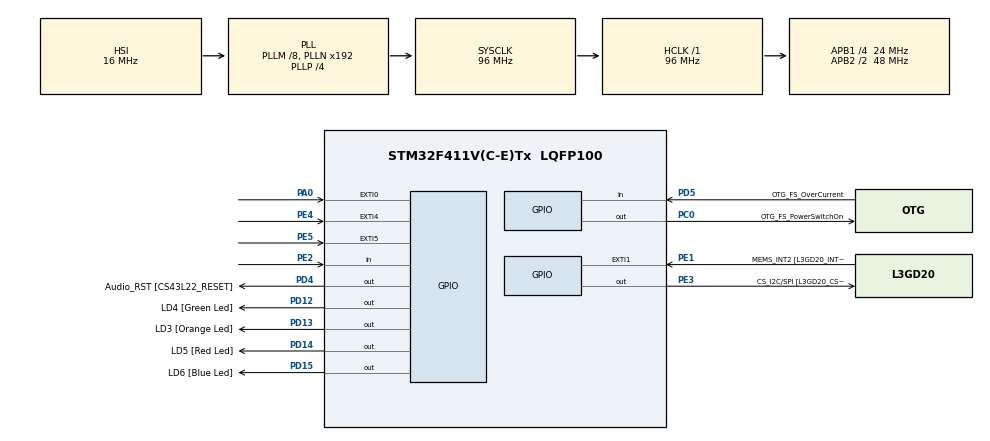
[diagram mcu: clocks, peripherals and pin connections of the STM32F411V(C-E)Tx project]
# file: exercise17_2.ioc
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FREERTOS.BinarySemaphores01=myBinarySem01,Dynamic,NULL;myBinarySem02,Dynamic,NULL
FREERTOS.Tasks01=RedLED,0,128,StartRedLED,Default,NULL,Dynamic,NULL,NULL;GreenLED,0,128,StartGreenLED,Default,NULL,Dynamic,NULL,NULL;BlueLED,0,128,StartBlueLED,Default,NULL,Dynamic,NULL,NULL
Mcu.Family=STM32F4
Mcu.Name=STM32F411V(C-E)Tx
Mcu.Package=LQFP100
NVIC.PriorityGroup=NVIC_PRIORITYGROUP_4
NVIC.TIM1_UP_TIM10_IRQn=true\:0\:0\:false\:false\:true\:false\:false\:true
NVIC.TimeBase=TIM1_UP_TIM10_IRQn
NVIC.TimeBaseIP=TIM1
PA0-WKUP.GPIO_ModeDefaultEXTI=GPIO_MODE_EVT_RISING
PA0-WKUP.Signal=GPXTI0
PA10.GPIO_Label=OTG_FS_ID
PA10.Signal=USB_OTG_FS_ID
PA11.GPIO_Label=OTG_FS_DM
PA11.Signal=USB_OTG_FS_DM
PA12.GPIO_Label=OTG_FS_DP
PA12.Signal=USB_OTG_FS_DP
PA13.GPIO_Label=SWDIO
PA13.Signal=SYS_JTMS-SWDIO
PA14.GPIO_Label=SWCLK
PA14.Signal=SYS_JTCK-SWCLK
PA4.GPIO_Label=I2S3_WS [CS43L22_LRCK]
PA4.GPIO_Mode=GPIO_MODE_AF_PP
PA4.GPIO_PuPd=GPIO_NOPULL
PA4.GPIO_Speed=GPIO_SPEED_FREQ_LOW
PA4.Signal=I2S3_WS
PA5.GPIO_Label=SPI1_SCK [L3GD20_SC/SPC]
PA5.Signal=SPI1_SCK
PA6.GPIO_Label=SPI1_MISO [L3GD20_AS0/SDO]
PA6.Signal=SPI1_MISO
PA7.GPIO_Label=SPI1_MOSI [L3GD20_SDA/SDI/SDO]
PA7.Signal=SPI1_MOSI
PA9.GPIO_Label=VBUS_FS
PA9.Signal=USB_OTG_FS_VBUS
PB10.GPIO_Label=CLK_IN [MP45DT02_CLK]
PB10.Signal=I2S2_CK
PB12.Signal=I2S2_WS
PB3.GPIO_Label=SWO
PB3.Signal=SYS_JTDO-SWO
PB6.GPIO_Label=Audio_SCL [CS43L22_SCL]
PB6.GPIO_Mode=GPIO_MODE_AF_OD
PB6.GPIO_PuPd=GPIO_NOPULL
PB6.GPIO_Speed=GPIO_SPEED_FREQ_LOW
PB6.Signal=I2C1_SCL
PB9.GPIO_Label=Audio_SDA [CS43L22_SDA]
PB9.GPIO_Mode=GPIO_MODE_AF_OD
PB9.GPIO_PuPd=GPIO_NOPULL
PB9.GPIO_Speed=GPIO_SPEED_FREQ_LOW
PB9.Signal=I2C1_SDA
PC0.GPIO_Label=OTG_FS_PowerSwitchOn
PC0.PinState=GPIO_PIN_SET
PC0.Signal=GPIO_Output
PC10.GPIO_Label=I2S3_SCK [CS43L22_SCLK]
PC10.GPIO_Mode=GPIO_MODE_AF_PP
PC10.GPIO_PuPd=GPIO_NOPULL
PC10.GPIO_Speed=GPIO_SPEED_FREQ_LOW
PC10.Signal=I2S3_CK
PC12.GPIO_Label=I2S3_SD [CS43L22_SDIN]
PC12.GPIO_Mode=GPIO_MODE_AF_PP
PC12.GPIO_PuPd=GPIO_NOPULL
PC12.GPIO_Speed=GPIO_SPEED_FREQ_LOW
PC12.Signal=I2S3_SD
PC14-OSC32_IN.GPIO_Label=PC14-OSC32_IN
PC14-OSC32_IN.Signal=RCC_OSC32_IN
PC15-OSC32_OUT.GPIO_Label=PC15-OSC32_OUT
PC15-OSC32_OUT.Signal=RCC_OSC32_OUT
PC3.GPIO_Label=PDM_OUT [MP45DT02_DOUT]
PC3.Signal=I2S2_SD
PC7.GPIO_Label=I2S3_MCK [CS43L22_MCLK]
PC7.GPIO_Mode=GPIO_MODE_AF_PP
PC7.GPIO_PuPd=GPIO_NOPULL
PC7.GPIO_Speed=GPIO_SPEED_FREQ_LOW
PC7.Signal=I2S3_MCK
PD12.GPIO_Label=LD4 [Green Led]
PD12.GPIO_PuPd=GPIO_NOPULL
PD12.GPIO_Speed=GPIO_SPEED_FREQ_LOW
PD12.Signal=GPIO_Output
PD13.GPIO_Label=LD3 [Orange Led]
PD13.GPIO_PuPd=GPIO_NOPULL
PD13.GPIO_Speed=GPIO_SPEED_FREQ_LOW
PD13.Signal=GPIO_Output
PD14.GPIO_Label=LD5 [Red Led]
PD14.GPIO_PuPd=GPIO_NOPULL
PD14.GPIO_Speed=GPIO_SPEED_FREQ_LOW
PD14.Signal=GPIO_Output
PD15.GPIO_Label=LD6 [Blue Led]
PD15.GPIO_PuPd=GPIO_NOPULL
PD15.GPIO_Speed=GPIO_SPEED_FREQ_LOW
PD15.Signal=GPIO_Output
PD4.GPIO_Label=Audio_RST [CS43L22_RESET]
PD4.Signal=GPIO_Output
PD5.GPIO_Label=OTG_FS_OverCurrent
PD5.Signal=GPIO_Input
PE1.GPIO_Label=MEMS_INT2 [L3GD20_INT2]
PE1.GPIO_ModeDefaultEXTI=GPIO_MODE_EVT_RISING
PE1.Signal=GPXTI1
PE2.Signal=GPIO_Input
PE3.GPIO_Label=CS_I2C/SPI [L3GD20_CS_I2C/SPI]
PE3.Signal=GPIO_Output
PE4.GPIO_ModeDefaultEXTI=GPIO_MODE_EVT_RISING
PE4.Signal=GPXTI4
PE5.GPIO_ModeDefaultEXTI=GPIO_MODE_EVT_RISING
PE5.Signal=GPXTI5
PH0\ -\ OSC_IN.GPIO_Label=PH0-OSC_IN
PH0\ -\ OSC_IN.Signal=RCC_OSC_IN
PH1\ -\ OSC_OUT.GPIO_Label=PH1-OSC_OUT
PH1\ -\ OSC_OUT.Signal=RCC_OSC_OUT
ProjectManager.HeapSize=0x200
ProjectManager.StackSize=0x400
ProjectManager.TargetToolchain=STM32CubeIDE
RCC.48MHZClocksFreq_Value=48000000
RCC.AHBFreq_Value=96000000
RCC.APB1CLKDivider=RCC_HCLK_DIV4
RCC.APB1Freq_Value=24000000
RCC.APB1TimFreq_Value=48000000
RCC.APB2CLKDivider=RCC_HCLK_DIV2
RCC.APB2Freq_Value=48000000
RCC.APB2TimFreq_Value=96000000
RCC.CortexFreq_Value=96000000
RCC.HCLKFreq_Value=96000000
RCC.HSE_VALUE=8000000
RCC.HSI_VALUE=16000000
RCC.LSE_VALUE=32768
RCC.PLLI2SM=5
RCC.PLLI2SN=200
RCC.PLLM=8
RCC.PLLP=RCC_PLLP_DIV4
RCC.PLLQ=8
RCC.SYSCLKFreq_VALUE=96000000
RCC.SYSCLKSource=RCC_SYSCLKSOURCE_PLLCLK
RCC.VCOOutputFreq_Value=384000000
VP_FREERTOS_VS_CMSIS_V1.Mode=CMSIS_V1
VP_SYS_VS_tim1.Mode=TIM1
board=STM32F411E-DISCO

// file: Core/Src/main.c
/* USER CODE BEGIN Header */
/**
  ******************************************************************************
  * @file           : main.c
  * @brief          : Main program body
  ******************************************************************************
  * @attention
  *
  * <h2><center>&copy; Copyright (c) 2021 STMicroelectronics.
  * All rights reserved.</center></h2>
  *
  * This software component is licensed by ST under BSD 3-Clause license,
  * the "License"; You may not use this file except in compliance with the
  * License. You may obtain a copy of the License at:
  *                        opensource.org/licenses/BSD-3-Clause
  *
  ******************************************************************************
  */
/* USER CODE END Header */

#include "main.h"
#include "cmsis_os.h"

#define RED GPIO_PIN_14
#define GREEN GPIO_PIN_12
#define BLUE GPIO_PIN_15

osThreadId RedLEDHandle;
osThreadId GreenLEDHandle;
osThreadId BlueLEDHandle;
osSemaphoreId myBinarySem01Handle;
osSemaphoreId myBinarySem02Handle;

void SystemClock_Config(void);
static void MX_GPIO_Init(void);
void StartRedLED(void const * argument);
void StartGreenLED(void const * argument);
void StartBlueLED(void const * argument);

int main(void)
{

  /* MCU Configuration--------------------------------------------------------*/

  /* Reset of all peripherals, Initializes the Flash interface and the Systick. */
  HAL_Init();

  /* Configure the system clock */
  SystemClock_Config();

  /* Initialize all configured peripherals */
  MX_GPIO_Init();

  /* Create the semaphores(s) */
  /* definition and creation of myBinarySem01 */
  osSemaphoreDef(myBinarySem01);
  myBinarySem01Handle = osSemaphoreCreate(osSemaphore(myBinarySem01), 1);

  /* definition and creation of myBinarySem02 */
  osSemaphoreDef(myBinarySem02);
  myBinarySem02Handle = osSemaphoreCreate(osSemaphore(myBinarySem02), 1);

  /* USER CODE BEGIN RTOS_SEMAPHORES */
  osSemaphoreWait(myBinarySem01Handle, 0);
  osSemaphoreWait(myBinarySem02Handle, 0);
  /* USER CODE END RTOS_SEMAPHORES */

  /* Create the thread(s) */
  /* definition and creation of RedLED */
  osThreadDef(RedLED, StartRedLED, osPriorityNormal, 0, 128);
  RedLEDHandle = osThreadCreate(osThread(RedLED), NULL);

  /* definition and creation of GreenLED */
  osThreadDef(GreenLED, StartGreenLED, osPriorityNormal, 0, 128);
  GreenLEDHandle = osThreadCreate(osThread(GreenLED), NULL);

  /* definition and creation of BlueLED */
  osThreadDef(BlueLED, StartBlueLED, osPriorityNormal, 0, 128);
  BlueLEDHandle = osThreadCreate(osThread(BlueLED), NULL);

  /* Start scheduler */
  osKernelStart();

  /* We should never get here as control is now taken by the scheduler */

  /* Infinite loop */
  while (1)
  {

  }
}

void SystemClock_Config(void)
{
  RCC_OscInitTypeDef RCC_OscInitStruct = {0};
  RCC_ClkInitTypeDef RCC_ClkInitStruct = {0};

  /** Configure the main internal regulator output voltage
  */
  __HAL_RCC_PWR_CLK_ENABLE();
  __HAL_PWR_VOLTAGESCALING_CONFIG(PWR_REGULATOR_VOLTAGE_SCALE1);
  /** Initializes the CPU, AHB and APB busses clocks
  */
  RCC_OscInitStruct.OscillatorType = RCC_OSCILLATORTYPE_HSI;
  RCC_OscInitStruct.HSIState = RCC_HSI_ON;
  RCC_OscInitStruct.HSICalibrationValue = RCC_HSICALIBRATION_DEFAULT;
  RCC_OscInitStruct.PLL.PLLState = RCC_PLL_ON;
  RCC_OscInitStruct.PLL.PLLSource = RCC_PLLSOURCE_HSI;
  RCC_OscInitStruct.PLL.PLLM = 8;
  RCC_OscInitStruct.PLL.PLLN = 192;
  RCC_OscInitStruct.PLL.PLLP = RCC_PLLP_DIV4;
  RCC_OscInitStruct.PLL.PLLQ = 8;
  if (HAL_RCC_OscConfig(&RCC_OscInitStruct) != HAL_OK)
  {
    Error_Handler();
  }
  /** Initializes the CPU, AHB and APB busses clocks
  */
  RCC_ClkInitStruct.ClockType = RCC_CLOCKTYPE_HCLK|RCC_CLOCKTYPE_SYSCLK
                              |RCC_CLOCKTYPE_PCLK1|RCC_CLOCKTYPE_PCLK2;
  RCC_ClkInitStruct.SYSCLKSource = RCC_SYSCLKSOURCE_PLLCLK;
  RCC_ClkInitStruct.AHBCLKDivider = RCC_SYSCLK_DIV1;
  RCC_ClkInitStruct.APB1CLKDivider = RCC_HCLK_DIV4;
  RCC_ClkInitStruct.APB2CLKDivider = RCC_HCLK_DIV2;

  if (HAL_RCC_ClockConfig(&RCC_ClkInitStruct, FLASH_LATENCY_3) != HAL_OK)
  {
    Error_Handler();
  }
}

static void MX_GPIO_Init(void)
{
  GPIO_InitTypeDef GPIO_InitStruct = {0};

  /* GPIO Ports Clock Enable */
  __HAL_RCC_GPIOE_CLK_ENABLE();
  __HAL_RCC_GPIOC_CLK_ENABLE();
  __HAL_RCC_GPIOH_CLK_ENABLE();
  __HAL_RCC_GPIOA_CLK_ENABLE();
  __HAL_RCC_GPIOB_CLK_ENABLE();
  __HAL_RCC_GPIOD_CLK_ENABLE();

  /*Configure GPIO pin Output Level */
  HAL_GPIO_WritePin(CS_I2C_SPI_GPIO_Port, CS_I2C_SPI_Pin, GPIO_PIN_RESET);

  /*Configure GPIO pin Output Level */
  HAL_GPIO_WritePin(OTG_FS_PowerSwitchOn_GPIO_Port, OTG_FS_PowerSwitchOn_Pin, GPIO_PIN_SET);

  /*Configure GPIO pin Output Level */
  HAL_GPIO_WritePin(GPIOD, LD4_Pin|LD3_Pin|LD5_Pin|LD6_Pin
                          |Audio_RST_Pin, GPIO_PIN_RESET);

  /*Configure GPIO pin : PE2 */
  GPIO_InitStruct.Pin = GPIO_PIN_2;
  GPIO_InitStruct.Mode = GPIO_MODE_INPUT;
  GPIO_InitStruct.Pull = GPIO_NOPULL;
  HAL_GPIO_Init(GPIOE, &GPIO_InitStruct);

  /*Configure GPIO pin : CS_I2C_SPI_Pin */
  GPIO_InitStruct.Pin = CS_I2C_SPI_Pin;
  GPIO_InitStruct.Mode = GPIO_MODE_OUTPUT_PP;
  GPIO_InitStruct.Pull = GPIO_NOPULL;
  GPIO_InitStruct.Speed = GPIO_SPEED_FREQ_LOW;
  HAL_GPIO_Init(CS_I2C_SPI_GPIO_Port, &GPIO_InitStruct);

  /*Configure GPIO pins : PE4 PE5 MEMS_INT2_Pin */
  GPIO_InitStruct.Pin = GPIO_PIN_4|GPIO_PIN_5|MEMS_INT2_Pin;
  GPIO_InitStruct.Mode = GPIO_MODE_EVT_RISING;
  GPIO_InitStruct.Pull = GPIO_NOPULL;
  HAL_GPIO_Init(GPIOE, &GPIO_InitStruct);

  /*Configure GPIO pin : OTG_FS_PowerSwitchOn_Pin */
  GPIO_InitStruct.Pin = OTG_FS_PowerSwitchOn_Pin;
  GPIO_InitStruct.Mode = GPIO_MODE_OUTPUT_PP;
  GPIO_InitStruct.Pull = GPIO_NOPULL;
  GPIO_InitStruct.Speed = GPIO_SPEED_FREQ_LOW;
  HAL_GPIO_Init(OTG_FS_PowerSwitchOn_GPIO_Port, &GPIO_InitStruct);

  /*Configure GPIO pin : PDM_OUT_Pin */
  GPIO_InitStruct.Pin = PDM_OUT_Pin;
  GPIO_InitStruct.Mode = GPIO_MODE_AF_PP;
  GPIO_InitStruct.Pull = GPIO_NOPULL;
  GPIO_InitStruct.Speed = GPIO_SPEED_FREQ_LOW;
  GPIO_InitStruct.Alternate = GPIO_AF5_SPI2;
  HAL_GPIO_Init(PDM_OUT_GPIO_Port, &GPIO_InitStruct);

  /*Configure GPIO pin : PA0 */
  GPIO_InitStruct.Pin = GPIO_PIN_0;
  GPIO_InitStruct.Mode = GPIO_MODE_EVT_RISING;
  GPIO_InitStruct.Pull = GPIO_NOPULL;
  HAL_GPIO_Init(GPIOA, &GPIO_InitStruct);

  /*Configure GPIO pin : I2S3_WS_Pin */
  GPIO_InitStruct.Pin = I2S3_WS_Pin;
  GPIO_InitStruct.Mode = GPIO_MODE_AF_PP;
  GPIO_InitStruct.Pull = GPIO_NOPULL;
  GPIO_InitStruct.Speed = GPIO_SPEED_FREQ_LOW;
  GPIO_InitStruct.Alternate = GPIO_AF6_SPI3;
  HAL_GPIO_Init(I2S3_WS_GPIO_Port, &GPIO_InitStruct);

  /*Configure GPIO pins : SPI1_SCK_Pin SPI1_MISO_Pin SPI1_MOSI_Pin */
  GPIO_InitStruct.Pin = SPI1_SCK_Pin|SPI1_MISO_Pin|SPI1_MOSI_Pin;
  GPIO_InitStruct.Mode = GPIO_MODE_AF_PP;
  GPIO_InitStruct.Pull = GPIO_NOPULL;
  GPIO_InitStruct.Speed = GPIO_SPEED_FREQ_VERY_HIGH;
  GPIO_InitStruct.Alternate = GPIO_AF5_SPI1;
  HAL_GPIO_Init(GPIOA, &GPIO_InitStruct);

  /*Configure GPIO pins : CLK_IN_Pin PB12 */
  GPIO_InitStruct.Pin = CLK_IN_Pin|GPIO_PIN_12;
  GPIO_InitStruct.Mode = GPIO_MODE_AF_PP;
  GPIO_InitStruct.Pull = GPIO_NOPULL;
  GPIO_InitStruct.Speed = GPIO_SPEED_FREQ_LOW;
  GPIO_InitStruct.Alternate = GPIO_AF5_SPI2;
  HAL_GPIO_Init(GPIOB, &GPIO_InitStruct);

  /*Configure GPIO pins : LD4_Pin LD3_Pin LD5_Pin LD6_Pin
                           Audio_RST_Pin */
  GPIO_InitStruct.Pin = LD4_Pin|LD3_Pin|LD5_Pin|LD6_Pin
                          |Audio_RST_Pin;
  GPIO_InitStruct.Mode = GPIO_MODE_OUTPUT_PP;
  GPIO_InitStruct.Pull = GPIO_NOPULL;
  GPIO_InitStruct.Speed = GPIO_SPEED_FREQ_LOW;
  HAL_GPIO_Init(GPIOD, &GPIO_InitStruct);

  /*Configure GPIO pins : I2S3_MCK_Pin I2S3_SCK_Pin I2S3_SD_Pin */
  GPIO_InitStruct.Pin = I2S3_MCK_Pin|I2S3_SCK_Pin|I2S3_SD_Pin;
  GPIO_InitStruct.Mode = GPIO_MODE_AF_PP;
  GPIO_InitStruct.Pull = GPIO_NOPULL;
  GPIO_InitStruct.Speed = GPIO_SPEED_FREQ_LOW;
  GPIO_InitStruct.Alternate = GPIO_AF6_SPI3;
  HAL_GPIO_Init(GPIOC, &GPIO_InitStruct);

  /*Configure GPIO pin : VBUS_FS_Pin */
  GPIO_InitStruct.Pin = VBUS_FS_Pin;
  GPIO_InitStruct.Mode = GPIO_MODE_INPUT;
  GPIO_InitStruct.Pull = GPIO_NOPULL;
  HAL_GPIO_Init(VBUS_FS_GPIO_Port, &GPIO_InitStruct);

  /*Configure GPIO pins : OTG_FS_ID_Pin OTG_FS_DM_Pin OTG_FS_DP_Pin */
  GPIO_InitStruct.Pin = OTG_FS_ID_Pin|OTG_FS_DM_Pin|OTG_FS_DP_Pin;
  GPIO_InitStruct.Mode = GPIO_MODE_AF_PP;
  GPIO_InitStruct.Pull = GPIO_NOPULL;
  GPIO_InitStruct.Speed = GPIO_SPEED_FREQ_VERY_HIGH;
  GPIO_InitStruct.Alternate = GPIO_AF10_OTG_FS;
  HAL_GPIO_Init(GPIOA, &GPIO_InitStruct);

  /*Configure GPIO pin : OTG_FS_OverCurrent_Pin */
  GPIO_InitStruct.Pin = OTG_FS_OverCurrent_Pin;
  GPIO_InitStruct.Mode = GPIO_MODE_INPUT;
  GPIO_InitStruct.Pull = GPIO_NOPULL;
  HAL_GPIO_Init(OTG_FS_OverCurrent_GPIO_Port, &GPIO_InitStruct);

  /*Configure GPIO pins : Audio_SCL_Pin Audio_SDA_Pin */
  GPIO_InitStruct.Pin = Audio_SCL_Pin|Audio_SDA_Pin;
  GPIO_InitStruct.Mode = GPIO_MODE_AF_OD;
  GPIO_InitStruct.Pull = GPIO_PULLUP;
  GPIO_InitStruct.Speed = GPIO_SPEED_FREQ_LOW;
  GPIO_InitStruct.Alternate = GPIO_AF4_I2C1;
  HAL_GPIO_Init(GPIOB, &GPIO_InitStruct);

}

/* USER CODE BEGIN 4 */
int TaskCounter = 1;

void Barrier(){

	switch(TaskCounter){
	case 1:
		TaskCounter++;
		osSemaphoreWait(myBinarySem01Handle, osWaitForever);
	break;

	case 2:
		TaskCounter++;
		osSemaphoreWait(myBinarySem02Handle, osWaitForever);
	break;

	case 3:
		osSemaphoreRelease(myBinarySem01Handle);
		osSemaphoreRelease(myBinarySem02Handle);
		TaskCounter = 1;
	break;
	}
}

/* USER CODE END 4 */

void StartRedLED(void const * argument)
{
  /* USER CODE BEGIN 5 */
  /* Infinite loop */
  for(;;)
  {
    for(int i = 0; i < 200*2; i++){
    	HAL_GPIO_TogglePin(GPIOD, RED);
    	osDelay(50);
    }
    Barrier();
    for(int i = 0; i < 8*2; i++){
    	HAL_GPIO_TogglePin(GPIOD, RED);
    	osDelay(500);
    }
    Barrier();
    for(int i = 0; i < 100*2; i++){
    	HAL_GPIO_TogglePin(GPIOD, RED);
    	osDelay(100);
    }
    Barrier();
  }
  /* USER CODE END 5 */
}

void StartGreenLED(void const * argument)
{
  /* USER CODE BEGIN StartGreenLED */
  /* Infinite loop */
  for(;;)
  {
	  for(int i = 0; i < 120*2; i++){
		  HAL_GPIO_TogglePin(GPIOD, GREEN);
		  osDelay(50);
	  }
	  Barrier();
	  for(int i = 0; i < 20*2; i++){
		  HAL_GPIO_TogglePin(GPIOD, GREEN);
		  osDelay(500);
	  }
	  Barrier();
	  for(int i = 0; i < 40*2; i++){
		  HAL_GPIO_TogglePin(GPIOD, GREEN);
		  osDelay(100);
	  }
	  Barrier();
  }
  /* USER CODE END StartGreenLED */
}

void StartBlueLED(void const * argument)
{
  /* USER CODE BEGIN StartBlueLED */
  /* Infinite loop */
  for(;;)
  {
	  for(int i = 0; i < 80*2; i++){
	    HAL_GPIO_TogglePin(GPIOD, BLUE);
	    osDelay(50);
	  }
	  Barrier();
	  for(int i = 0; i < 12*2; i++){
	    HAL_GPIO_TogglePin(GPIOD, BLUE);
	    osDelay(500);
	  }
	  Barrier();
	  for(int i = 0; i < 60*2; i++){
	    HAL_GPIO_TogglePin(GPIOD, BLUE);
	    osDelay(100);
	  }
	  Barrier();
  }
  /* USER CODE END StartBlueLED */
}

void HAL_TIM_PeriodElapsedCallback(TIM_HandleTypeDef *htim)
{
  if (htim->Instance == TIM1) {
    HAL_IncTick();
  }
}

void Error_Handler(void)
{
}

/************************ (C) COPYRIGHT STMicroelectronics *****END OF FILE****/
